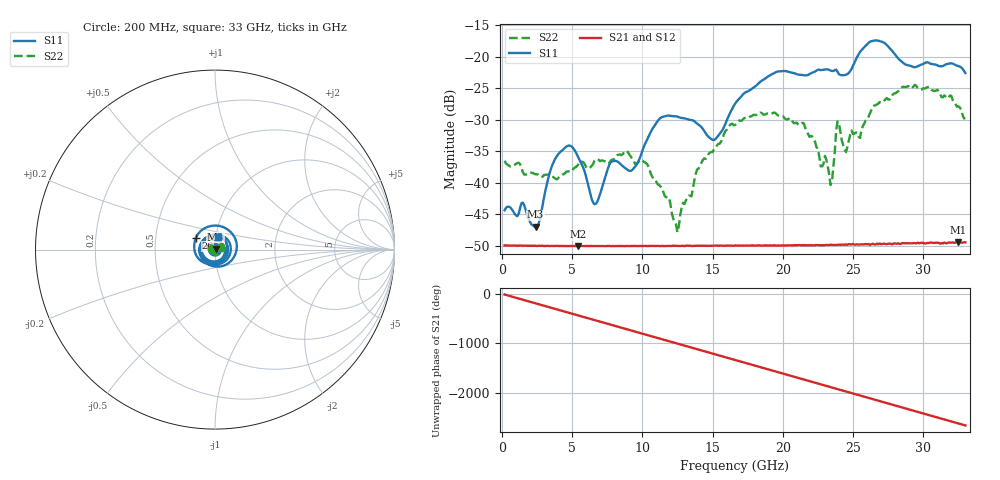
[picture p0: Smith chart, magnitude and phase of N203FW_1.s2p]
# GHZ S RI R 50
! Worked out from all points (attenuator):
!   329 points, 200 MHz to 33 GHz, reference 50 ohm
!   highest |S21| = -49.44 dB at 32.5 GHz (marker M1); lowest = -50.1 dB at 5.4 GHz (marker M2)
!   lowest |S11| = -47.0 dB at 2.4 GHz (marker M3), VSWR 1.01, Z = 50.3 + j0.352 ohm
!   |S11| at or under -10 dB: start of sweep to end of sweep
!   |S22| runs from -47.9 to -24.5 dB; largest |S21 - S12| = 8.8e-05
!   S11 on the Smith chart (normalised r, x): 200 MHz: 1.01, +0.00; 26 GHz: 0.80, +0.11; 33 GHz: 1.03, +0.15
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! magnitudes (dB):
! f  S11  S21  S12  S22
! 200 MHz  -44.4  -50.0  -49.9  -36.5
! 2.4 GHz  -47.0  -50.0  -50.0  -38.7
! 3.8 GHz  -36.2  -50.0  -50.0  -39.3
! 5.4 GHz  -35.8  -50.1  -50.0  -37.3
! 5.7 GHz  -37.1  -50.1  -50.0  -36.7
! 6.7 GHz  -43.4  -50.1  -50.0  -36.3
! 7.7 GHz  -37.0  -50.0  -50.1  -36.7
! 9.3 GHz  -38.0  -50.1  -50.0  -36.3
! 11.2 GHz  -29.9  -50.1  -50.0  -40.4
! 12.5 GHz  -29.5  -50.0  -50.0  -47.9
! 13.9 GHz  -30.6  -50.0  -50.0  -37.9
! 15.1 GHz  -33.2  -50.0  -50.0  -34.7
! 16.6 GHz  -27.5  -50.0  -50.0  -30.9
! 19.4 GHz  -22.6  -50.0  -50.0  -28.9
! 22.1 GHz  -22.6  -49.9  -49.9  -32.7
! 23.4 GHz  -22.2  -49.8  -49.9  -40.4
! 23.9 GHz  -22.4  -49.9  -49.9  -30.3
! 24.5 GHz  -22.9  -49.8  -49.8  -35.2
! 26 GHz  -18.1  -49.8  -49.7  -30.0
! 27.6 GHz  -18.6  -49.7  -49.7  -26.8
! 32.5 GHz  -21.5  -49.4  -49.4  -27.9
! 33 GHz  -22.6  -49.5  -49.5  -29.8
